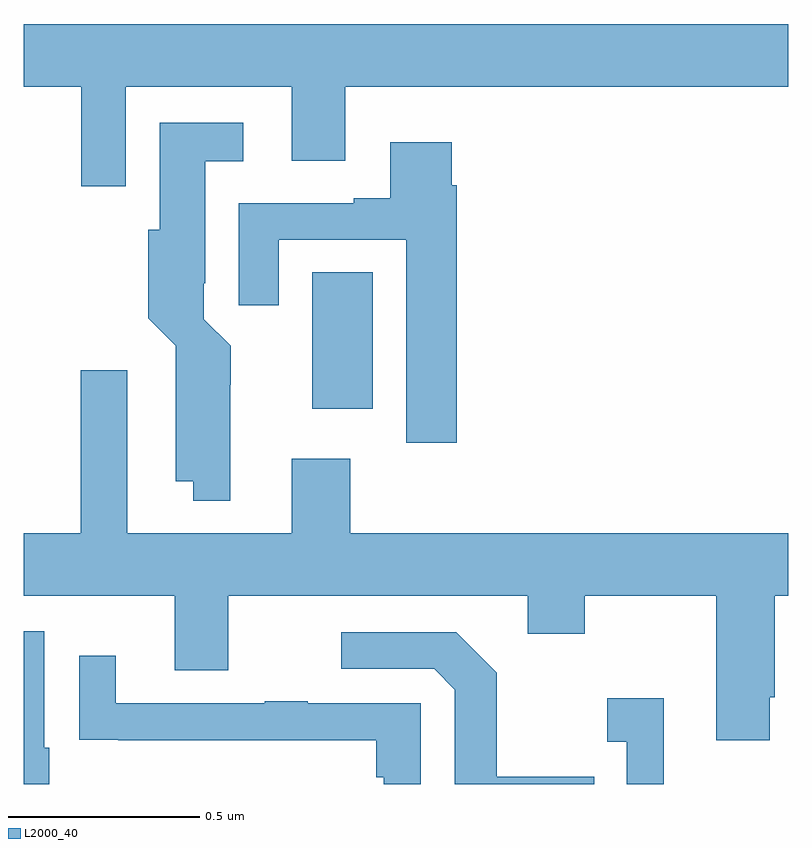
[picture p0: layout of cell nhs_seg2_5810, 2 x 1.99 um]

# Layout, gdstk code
import gdstk
lib = gdstk.Library(unit=1e-6, precision=1e-09)
def R(c, l, rs):  # rectangles x0, y0, x1, y1
    for r in rs: c.add(gdstk.rectangle(r[:2], r[2:], *l))
def P(c, l, *ps):  # polygons
    for p in ps: c.add(gdstk.Polygon(p, *l))
L2000_40 = (2000, 40)

nhs_seg2_5810 = lib.new_cell('nhs_seg2_5810')
R(nhs_seg2_5810, L2000_40, [(183.755,658.782,183.913,659.138)])
P(nhs_seg2_5810, L2000_40, [(183.267,659.624),(183.701,659.624),(183.701,659.43),(183.841,659.43),(183.841,659.624),(185,659.624),(185,659.788),(183,659.788),(183,659.624),(183.151,659.624),(183.151,659.364),(183.267,659.364)],
  [(183.54,658.844),(183.541,658.844),(183.541,658.946),(183.471,659.016),(183.471,659.11),(183.475,659.11),(183.475,659.429),(183.574,659.429),(183.574,659.53),(183.356,659.53),(183.356,659.25),(183.326,659.25),(183.326,659.018),(183.398,658.946),(183.398,658.592),(183.443,658.592),(183.443,658.541),(183.54,658.541)],
  [(184.133,659.366),(184.12,659.366),(184.12,659.479),(183.959,659.479),(183.959,659.332),(183.863,659.332),(183.863,659.319),(183.563,659.319),(183.563,659.052),(183.667,659.052),(183.667,659.223),(184.001,659.223),(184.001,658.692),(184.133,658.692)],
  [(184.951,658.027),(184.964,658.027),(184.964,658.292),(185,658.292),(185,658.456),(183.854,658.456),(183.854,658.651),(183.701,658.651),(183.701,658.456),(183.271,658.456),(183.271,658.882),(183.149,658.882),(183.149,658.456),(183,658.456),(183,658.292),(183.395,658.292),(183.395,658.098),(183.535,658.098),(183.535,658.292),(184.319,658.292),(184.319,658.193),(184.467,658.193),(184.467,658.292),(184.811,658.292),(184.811,657.915),(184.951,657.915)],
  [(183.067,657.895),(183.054,657.895),(183.054,658.2),(183,658.2),(183,657.8),(183.067,657.8)],
  [(184.493,657.819),(184.237,657.819),(184.237,658.091),(184.131,658.197),(183.831,658.197),(183.831,658.101),(184.074,658.101),(184.128,658.047),(184.128,657.8),(184.493,657.8)],
  [(184.038,658.011),(183.743,658.011),(183.743,658.016),(183.631,658.016),(183.631,658.011),(183.241,658.011),(183.241,658.135),(183.145,658.135),(183.145,657.916),(183.247,657.916),(183.247,657.915),(183.922,657.915),(183.922,657.818),(183.942,657.818),(183.942,657.8),(184.038,657.8)],
  [(184.674,658.024),(184.527,658.024),(184.527,657.911),(184.578,657.911),(184.578,657.8),(184.674,657.8)])

lib.write_gds('nhs_seg2_5810.gds')
